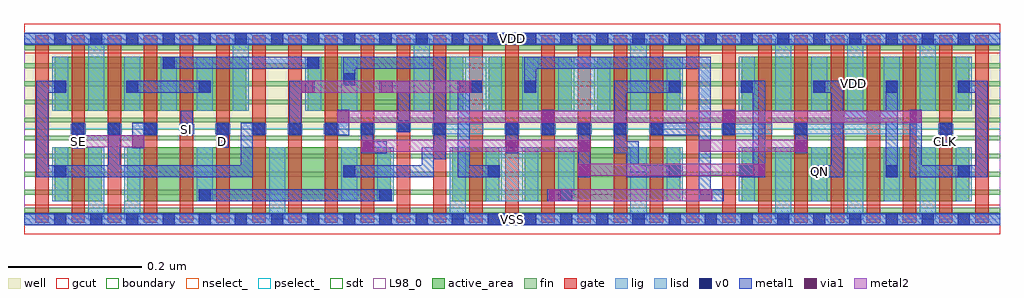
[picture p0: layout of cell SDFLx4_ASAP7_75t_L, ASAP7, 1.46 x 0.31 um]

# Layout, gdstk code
import gdstk
lib = gdstk.Library(unit=1e-6, precision=2.5e-10)
def R(c, l, rs):  # rectangles x0, y0, x1, y1
    for r in rs: c.add(gdstk.rectangle(r[:2], r[2:], *l))
def A(c, l, x, y, w, h, nx, ny, dx, dy):  # array of equal rectangles
    R(c, l, [(x+i*dx, y+j*dy, x+i*dx+w, y+j*dy+h) for i in range(nx) for j in range(ny)])
def P(c, l, *ps):  # polygons
    for p in ps: c.add(gdstk.Polygon(p, *l))
well = (1, 0)
fin = (2, 0)
gate = (7, 0)
gcut = (10, 0)
active_area = (11, 0)
nselect_ = (12, 0)
pselect_ = (13, 0)
lig = (16, 0)
lisd = (17, 0)
v0 = (18, 0)
metal1 = (19, 0)
metal2 = (20, 0)
via1 = (21, 0)
sdt = (88, 0)
L98_0 = (98, 0)
boundary = (100, 0)

sdflx4_asap7_75t_l = lib.new_cell('SDFLx4_ASAP7_75t_L')
R(sdflx4_asap7_75t_l, well, [(0,0.135,1.458,0.27)])
A(sdflx4_asap7_75t_l, fin, 0, 0.01, 1.458, 0.007, 1, 10, 0, 0.027)
A(sdflx4_asap7_75t_l, gate, 0.017, -0.005, 0.02, 0.28, 27, 1, 0.054, 0)
R(sdflx4_asap7_75t_l, gcut, [(0,-0.022,1.458,0.022), (0,0.248,1.458,0.292)])
R(sdflx4_asap7_75t_l, active_area, [(0.046,0.027,0.116,0.108), (0.154,0.027,0.548,0.108), (0.64,0.027,0.71,0.108), (0.748,0.027,0.98,0.108), (1.072,0.027,1.412,0.108), (0.046,0.162,0.332,0.243), (0.424,0.162,0.656,0.243), (0.694,0.162,0.818,0.243), (0.856,0.162,0.98,0.243), (1.072,0.162,1.412,0.243)])
R(sdflx4_asap7_75t_l, nselect_, [(0,0,1.458,0.135)])
R(sdflx4_asap7_75t_l, pselect_, [(0,0.135,1.458,0.27)])
A(sdflx4_asap7_75t_l, lig, 0.07, 0.127, 0.022, 0.016, 9, 1, 0.054, 0)
A(sdflx4_asap7_75t_l, lig, 0.718, 0.127, 0.022, 0.016, 5, 1, 0.054, 0)
R(sdflx4_asap7_75t_l, lig, [(0,-0.008,1.458,0.008), (0.61,0.127,0.686,0.143), (1.042,0.127,1.118,0.143), (1.15,0.127,1.334,0.143), (1.366,0.127,1.388,0.143), (0.556,0.131,0.578,0.147), (0,0.262,1.458,0.278)])
A(sdflx4_asap7_75t_l, lisd, 0.366, 0, 0.024, 0.108, 3, 1, 0.27, 0)
A(sdflx4_asap7_75t_l, lisd, 1.122, 0, 0.024, 0.108, 3, 2, 0.108, 0.162)
A(sdflx4_asap7_75t_l, lisd, 0.042, 0.027, 0.024, 0.081, 3, 1, 0.216, 0)
A(sdflx4_asap7_75t_l, lisd, 0.96, 0.027, 0.024, 0.081, 5, 2, 0.108, 0.135)
A(sdflx4_asap7_75t_l, lisd, 0.15, 0.162, 0.024, 0.081, 3, 1, 0.054, 0)
R(sdflx4_asap7_75t_l, lisd, [(0.096,0,0.12,0.108), (0.15,0,0.174,0.108), (0.528,0.027,0.552,0.108), (0.69,0.027,0.768,0.108), (0.798,0.027,0.822,0.108), (0.042,0.162,0.066,0.243), (0.096,0.162,0.12,0.27), (0.312,0.162,0.336,0.27), (0.42,0.162,0.444,0.243), (0.474,0.162,0.498,0.243), (0.582,0.162,0.606,0.27), (0.636,0.162,0.714,0.243), (0.744,0.162,0.768,0.243), (0.798,0.162,0.876,0.243), (0.906,0.162,0.93,0.27)])
A(sdflx4_asap7_75t_l, v0, 0.045, -0.009, 0.018, 0.018, 26, 2, 0.054, 0.27)
A(sdflx4_asap7_75t_l, v0, 0.261, 0.027, 0.018, 0.018, 3, 1, 0.27, 0)
A(sdflx4_asap7_75t_l, v0, 1.179, 0.063, 0.018, 0.018, 3, 1, 0.108, 0)
A(sdflx4_asap7_75t_l, v0, 0.072, 0.126, 0.018, 0.018, 9, 1, 0.054, 0)
A(sdflx4_asap7_75t_l, v0, 0.72, 0.126, 0.018, 0.018, 5, 1, 0.054, 0)
A(sdflx4_asap7_75t_l, v0, 0.045, 0.189, 0.018, 0.018, 3, 1, 0.108, 0)
A(sdflx4_asap7_75t_l, v0, 0.963, 0.189, 0.018, 0.018, 5, 1, 0.108, 0)
R(sdflx4_asap7_75t_l, v0, [(0.045,0.063,0.063,0.081), (0.477,0.063,0.495,0.081), (0.693,0.063,0.711,0.081), (0.963,0.063,0.981,0.081), (1.069,0.063,1.087,0.081), (0.612,0.126,0.63,0.144), (1.044,0.126,1.062,0.144), (1.152,0.126,1.17,0.144), (1.368,0.126,1.386,0.144), (0.558,0.13,0.576,0.148), (0.666,0.189,0.684,0.207), (0.747,0.189,0.765,0.207), (0.477,0.2,0.495,0.218), (0.207,0.225,0.225,0.243), (0.423,0.225,0.441,0.243)])
R(sdflx4_asap7_75t_l, metal1, [(0,-0.009,1.458,0.009), (0.261,0.027,0.549,0.045), (0.782,0.027,0.819,0.045), (0.828,0.063,0.846,0.144), (0.72,0.099,0.738,0.144), (1.152,0.099,1.17,0.144), (0.072,0.106,0.09,0.144), (0.288,0.107,0.306,0.144), (1.368,0.108,1.386,0.144), (0.234,0.126,0.252,0.162), (0.774,0.126,0.792,0.164), (1.044,0.126,1.062,0.164), (0.153,0.189,0.279,0.207), (0.207,0.225,0.441,0.243), (0,0.261,1.458,0.279)])
P(sdflx4_asap7_75t_l, metal1, [(0.542,0.117),(0.522,0.117),(0.522,0.144),(0.504,0.144),(0.504,0.099),(0.542,0.099)],
  [(0.18,0.126),(0.198,0.126),(0.198,0.144),(0.162,0.144),(0.162,0.106),(0.18,0.106)],
  [(0.486,0.164),(0.468,0.164),(0.468,0.144),(0.45,0.144),(0.45,0.126),(0.486,0.126)],
  [(0.414,0.189),(0.434,0.189),(0.434,0.207),(0.396,0.207),(0.396,0.126),(0.414,0.126)],
  [(0.711,0.081),(0.666,0.081),(0.666,0.189),(0.684,0.189),(0.684,0.207),(0.648,0.207),(0.648,0.063),(0.711,0.063)],
  [(0.981,0.081),(0.918,0.081),(0.918,0.117),(0.9,0.117),(0.9,0.189),(0.981,0.189),(0.981,0.207),(0.882,0.207),(0.882,0.099),(0.9,0.099),(0.9,0.063),(0.981,0.063)],
  [(0.342,0.126),(0.36,0.126),(0.36,0.144),(0.324,0.144),(0.324,0.081),(0.144,0.081),(0.144,0.144),(0.126,0.144),(0.126,0.081),(0.036,0.081),(0.036,0.189),(0.063,0.189),(0.063,0.207),(0.018,0.207),(0.018,0.063),(0.342,0.063)],
  [(1.107,0.207),(1.071,0.207),(1.071,0.189),(1.089,0.189),(1.089,0.081),(1.069,0.081),(1.069,0.063),(1.107,0.063)],
  [(1.224,0.144),(1.287,0.144),(1.287,0.063),(1.305,0.063),(1.305,0.207),(1.287,0.207),(1.287,0.162),(1.224,0.162),(1.224,0.207),(1.179,0.207),(1.179,0.189),(1.206,0.189),(1.206,0.081),(1.179,0.081),(1.179,0.063),(1.224,0.063)],
  [(0.576,0.207),(0.531,0.207),(0.531,0.189),(0.558,0.189),(0.558,0.13),(0.576,0.13)],
  [(1.395,0.207),(1.395,0.189),(1.422,0.189),(1.422,0.081),(1.341,0.081),(1.341,0.164),(1.323,0.164),(1.323,0.063),(1.44,0.063),(1.44,0.207)],
  [(1.045,0.045),(1.026,0.045),(1.026,0.243),(0.747,0.243),(0.747,0.189),(0.765,0.189),(0.765,0.225),(1.008,0.225),(1.008,0.144),(0.936,0.144),(0.936,0.126),(1.008,0.126),(1.008,0.027),(1.045,0.027)],
  [(0.612,0.09),(0.63,0.09),(0.63,0.243),(0.477,0.243),(0.477,0.2),(0.495,0.2),(0.495,0.225),(0.612,0.225),(0.612,0.108),(0.594,0.108),(0.594,0.081),(0.477,0.081),(0.477,0.063),(0.612,0.063)])
R(sdflx4_asap7_75t_l, metal2, [(0.784,0.027,1.028,0.045), (0.828,0.065,1.107,0.083), (0.504,0.101,0.846,0.119), (1.008,0.101,1.17,0.119), (0.072,0.108,0.18,0.126), (0.468,0.144,1.341,0.162), (0.414,0.189,0.668,0.207)])
R(sdflx4_asap7_75t_l, via1, [(0.784,0.027,0.802,0.045), (1.01,0.027,1.028,0.045), (0.828,0.065,0.846,0.083), (1.089,0.065,1.107,0.083), (0.504,0.101,0.522,0.119), (0.72,0.101,0.738,0.119), (0.828,0.101,0.846,0.119), (1.008,0.101,1.026,0.119), (1.152,0.101,1.17,0.119), (0.072,0.108,0.09,0.126), (0.162,0.108,0.18,0.126), (0.468,0.144,0.486,0.162), (0.774,0.144,0.792,0.162), (1.044,0.144,1.062,0.162), (1.323,0.144,1.341,0.162), (0.414,0.189,0.432,0.207), (0.533,0.189,0.551,0.207), (0.65,0.189,0.668,0.207)])
A(sdflx4_asap7_75t_l, sdt, 0.042, 0.027, 0.024, 0.081, 3, 1, 0.054, 0)
A(sdflx4_asap7_75t_l, sdt, 0.258, 0.027, 0.024, 0.081, 3, 1, 0.108, 0)
A(sdflx4_asap7_75t_l, sdt, 0.636, 0.027, 0.024, 0.081, 4, 1, 0.054, 0)
A(sdflx4_asap7_75t_l, sdt, 1.068, 0.027, 0.024, 0.081, 7, 2, 0.054, 0.135)
A(sdflx4_asap7_75t_l, sdt, 0.042, 0.162, 0.024, 0.081, 6, 1, 0.054, 0)
A(sdflx4_asap7_75t_l, sdt, 0.582, 0.162, 0.024, 0.081, 8, 1, 0.054, 0)
R(sdflx4_asap7_75t_l, sdt, [(0.528,0.027,0.552,0.108), (0.906,0.027,0.93,0.108), (0.96,0.027,0.984,0.108), (0.42,0.162,0.444,0.243), (0.474,0.162,0.498,0.243)])
R(sdflx4_asap7_75t_l, L98_0, [(0,0,1.458,0.27)])
R(sdflx4_asap7_75t_l, boundary, [(0,0,1.458,0.27)])
sdflx4_asap7_75t_l.add(gdstk.Label('SI', (0.243,0.135), layer=19, texttype=251))
sdflx4_asap7_75t_l.add(gdstk.Label('SE', (0.081,0.117), layer=19, texttype=251))
sdflx4_asap7_75t_l.add(gdstk.Label('QN', (1.188,0.072), layer=19, texttype=251))
sdflx4_asap7_75t_l.add(gdstk.Label('D', (0.297,0.117), layer=19, texttype=251))
sdflx4_asap7_75t_l.add(gdstk.Label('CLK', (1.377,0.117), layer=19, texttype=251))
sdflx4_asap7_75t_l.add(gdstk.Label('VSS', (0.729,0), layer=19, texttype=251))
sdflx4_asap7_75t_l.add(gdstk.Label('VDD', (0.729,0.27), layer=19, texttype=251))
sdflx4_asap7_75t_l.add(gdstk.Label('VDD', (1.2392,0.2025), layer=1, texttype=251))
sdflx4_asap7_75t_l.add(gdstk.Label('VSS', (1.6767,0.2025), layer=3, texttype=251))

lib.write_gds('SDFLx4_ASAP7_75t_L.gds')
